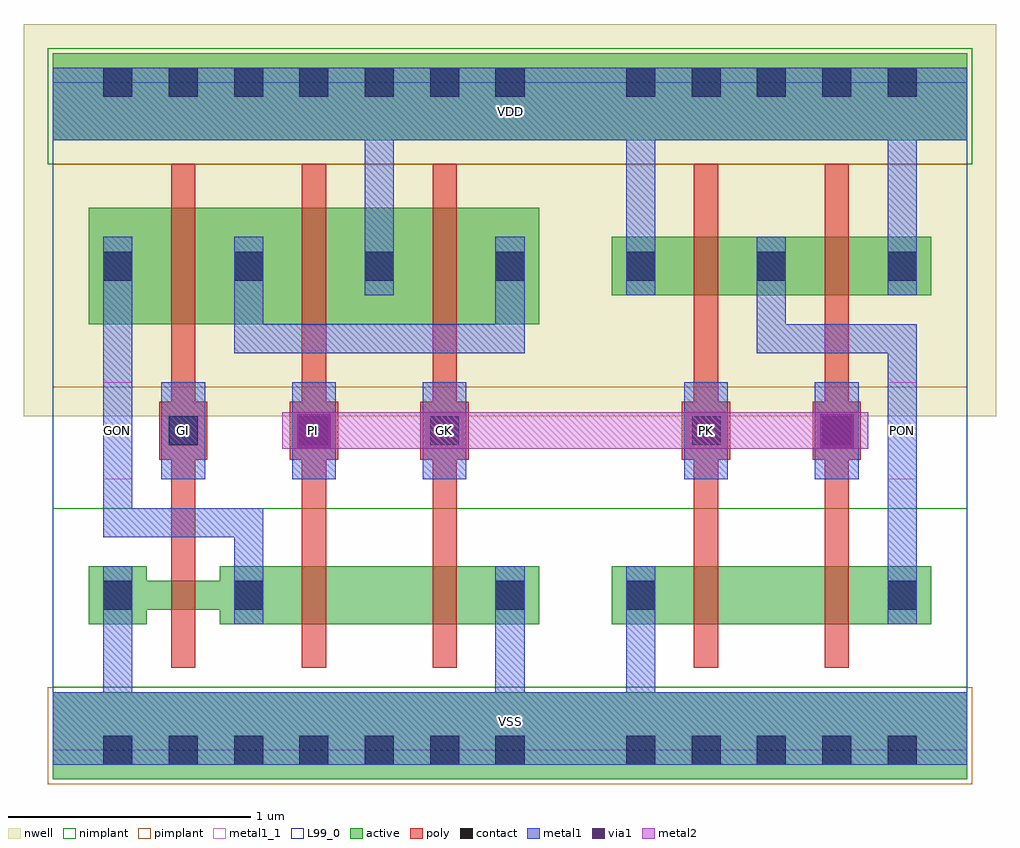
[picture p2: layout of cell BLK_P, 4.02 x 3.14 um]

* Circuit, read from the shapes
.subckt BLK_P GI GK GON PI PK PON VDD VSS
M1 GON GI VSS VSS nfet w=0.12u l=0.1u
M2 n1 PI GON VSS nfet w=0.24u l=0.1u
M3 VSS GK n1 VSS nfet w=0.24u l=0.1u
M4 n2 PK VSS VSS nfet w=0.24u l=0.1u
M5 PON PI n2 VSS nfet w=0.24u l=0.1u
M6 n3 GI GON VDD pfet w=0.48u l=0.1u
M7 VDD PI n3 VDD pfet w=0.48u l=0.1u
M8 n3 GK VDD VDD pfet w=0.48u l=0.1u
M9 PON PK VDD VDD pfet w=0.24u l=0.1u
M10 VDD PI PON VDD pfet w=0.24u l=0.1u
.ends

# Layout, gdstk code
import gdstk
lib = gdstk.Library(unit=1e-6, precision=5e-10)
def R(c, l, rs):  # rectangles x0, y0, x1, y1
    for r in rs: c.add(gdstk.rectangle(r[:2], r[2:], *l))
def A(c, l, x, y, w, h, nx, ny, dx, dy):  # array of equal rectangles
    R(c, l, [(x+i*dx, y+j*dy, x+i*dx+w, y+j*dy+h) for i in range(nx) for j in range(ny)])
active = (1, 0)
nwell = (2, 0)
poly = (3, 0)
nimplant = (4, 0)
pimplant = (5, 0)
contact = (6, 0)
metal1 = (7, 0)
metal1_1 = (7, 1)
via1 = (8, 0)
metal2 = (9, 0)
L99_0 = (99, 0)

aoi21_x1 = lib.new_cell('AOI21_X1')
A(aoi21_x1, active, 0.15, 0.52, 0.24, 0.24, 4, 1, 0.54, 0)
A(aoi21_x1, active, 0.15, 1.76, 0.24, 0.48, 4, 1, 0.54, 0)
A(aoi21_x1, active, 0.39, 1.76, 0.3, 0.48, 3, 1, 0.54, 0)
R(aoi21_x1, active, [(0,-0.12,2.16,0.24), (0.93,0.52,1.23,0.76), (1.47,0.52,1.77,0.76), (0.39,0.58,0.69,0.7), (0,2.52,2.16,2.88)])
R(aoi21_x1, nwell, [(-0.12,1.38,2.28,3)])
A(aoi21_x1, poly, 0.49, 0.34, 0.1, 2.08, 3, 1, 0.54, 0)
A(aoi21_x1, poly, 0.44, 1.2, 0.2, 0.24, 3, 1, 0.54, 0)
R(aoi21_x1, nimplant, [(0,0.26,2.16,1), (-0.02,2.42,2.18,2.9)])
R(aoi21_x1, pimplant, [(-0.02,-0.14,2.18,0.26), (0,1.5,2.16,2.42)])
A(aoi21_x1, contact, 0.21, -0.06, 0.12, 0.12, 7, 2, 0.27, 2.76)
A(aoi21_x1, contact, 0.48, 1.26, 0.12, 0.12, 3, 1, 0.54, 0)
A(aoi21_x1, contact, 0.21, 1.94, 0.12, 0.12, 4, 1, 0.54, 0)
R(aoi21_x1, contact, [(0.21,0.58,0.33,0.7), (0.75,0.58,0.87,0.7), (1.83,0.58,1.95,0.7)])
A(aoi21_x1, metal1, 0.45, 1.12, 0.18, 0.4, 3, 1, 0.54, 0)
A(aoi21_x1, metal1, 0.21, 1.88, 0.12, 0.24, 4, 1, 0.54, 0)
R(aoi21_x1, metal1, [(0,-0.06,2.16,0.24), (0.21,0.06,0.33,0.7), (1.83,0.06,1.95,0.7), (0.21,0.52,0.33,0.76), (0.75,0.52,0.87,0.76), (1.83,0.52,1.95,0.76), (0.75,0.58,0.87,1), (0.21,0.88,0.33,2.06), (0.21,0.88,0.87,1), (0.75,1.64,0.87,2.06), (0.75,1.64,1.95,1.76), (1.83,1.64,1.95,2.06), (1.29,1.94,1.41,2.7), (0,2.52,2.16,2.82)])
A(aoi21_x1, metal1_1, 0.45, 1.12, 0.18, 0.4, 3, 1, 0.54, 0)
R(aoi21_x1, metal1_1, [(0,0,2.16,0.24), (0.21,1.12,0.33,1.52), (0,2.52,2.16,2.76)])
R(aoi21_x1, L99_0, [(0,0,2.16,2.76)])
aoi21_x1.add(gdstk.Label('Y', (0.27,1.32), layer=7, texttype=3))
aoi21_x1.add(gdstk.Label('A2', (1.62,1.32), layer=7, texttype=3))
aoi21_x1.add(gdstk.Label('A1', (1.08,1.32), layer=7, texttype=3))
aoi21_x1.add(gdstk.Label('B', (0.54,1.32), layer=7, texttype=3))
aoi21_x1.add(gdstk.Label('VDD', (1.08,2.64), layer=7, texttype=3))
aoi21_x1.add(gdstk.Label('VSS', (1.08,0.12), layer=7, texttype=3))

nand2_x1 = lib.new_cell('NAND2_X1')
A(nand2_x1, active, 0.15, 0.52, 0.24, 0.24, 3, 2, 0.54, 1.36)
R(nand2_x1, active, [(0,-0.12,1.62,0.24), (0.39,0.52,0.69,0.76), (0.93,0.52,1.23,0.76), (0.39,1.88,0.69,2.12), (0.93,1.88,1.23,2.12), (0,2.52,1.62,2.88)])
R(nand2_x1, nwell, [(-0.12,1.38,1.74,3)])
R(nand2_x1, poly, [(0.49,0.34,0.59,2.42), (1.03,0.34,1.13,2.42), (0.44,1.2,0.64,1.44), (0.98,1.2,1.18,1.44)])
R(nand2_x1, nimplant, [(0,0.26,1.62,1), (-0.02,2.42,1.64,2.9)])
R(nand2_x1, pimplant, [(-0.02,-0.14,1.64,0.26), (0,1.5,1.62,2.42)])
A(nand2_x1, contact, 0.21, -0.06, 0.12, 0.12, 5, 2, 0.27, 2.76)
A(nand2_x1, contact, 0.21, 1.94, 0.12, 0.12, 3, 1, 0.54, 0)
R(nand2_x1, contact, [(0.21,0.58,0.33,0.7), (1.29,0.58,1.41,0.7), (0.48,1.26,0.6,1.38), (1.02,1.26,1.14,1.38)])
A(nand2_x1, metal1, 0.21, 1.88, 0.12, 0.24, 3, 1, 0.54, 0)
R(nand2_x1, metal1, [(0,-0.06,1.62,0.24), (0.21,0.06,0.33,0.7), (0.21,0.52,0.33,0.76), (1.29,0.52,1.41,0.76), (1.29,0.58,1.41,1.76), (0.45,1.12,0.63,1.52), (0.99,1.12,1.17,1.52), (0.75,1.64,1.41,1.76), (0.75,1.64,0.87,2.06), (0.21,1.94,0.33,2.7), (1.29,1.94,1.41,2.7), (0,2.52,1.62,2.82)])
R(nand2_x1, metal1_1, [(0,0,1.62,0.24), (0.45,1.12,0.63,1.52), (0.99,1.12,1.17,1.52), (1.29,1.12,1.41,1.52), (0,2.52,1.62,2.76)])
R(nand2_x1, L99_0, [(0,0,1.62,2.76)])
nand2_x1.add(gdstk.Label('Y', (1.35,1.32), layer=7, texttype=3))
nand2_x1.add(gdstk.Label('A', (1.08,1.32), layer=7, texttype=3))
nand2_x1.add(gdstk.Label('B', (0.54,1.32), layer=7, texttype=3))
nand2_x1.add(gdstk.Label('VDD', (0.81,2.64), layer=7, texttype=3))
nand2_x1.add(gdstk.Label('VSS', (0.81,0.12), layer=7, texttype=3))

blk_p = lib.new_cell('BLK_P')
A(blk_p, metal1_1, 0.45, 1.12, 0.18, 0.4, 3, 1, 0.54, 0)
R(blk_p, metal1_1, [(0,0,3.78,0.24), (0.21,1.12,0.33,1.52), (2.61,1.12,2.79,1.52), (3.45,1.12,3.57,1.52), (0,2.52,3.78,2.76)])
R(blk_p, via1, [(1.01,1.25,1.15,1.39), (3.17,1.25,3.31,1.39)])
R(blk_p, metal2, [(0.95,1.245,3.37,1.395)])
R(blk_p, L99_0, [(0,0,3.78,2.76)])
blk_p.add(gdstk.Reference(aoi21_x1, (0,0)))
blk_p.add(gdstk.Reference(nand2_x1, (2.16,0)))
blk_p.add(gdstk.Label('VDD', (1.89,2.64), layer=7, texttype=3))
blk_p.add(gdstk.Label('VSS', (1.89,0.12), layer=7, texttype=3))
blk_p.add(gdstk.Label('PON', (3.51,1.32), layer=7, texttype=3))
blk_p.add(gdstk.Label('GON', (0.27,1.32), layer=7, texttype=3))
blk_p.add(gdstk.Label('PK', (2.7,1.32), layer=7, texttype=3))
blk_p.add(gdstk.Label('GK', (1.62,1.32), layer=7, texttype=3))
blk_p.add(gdstk.Label('PI', (1.08,1.32), layer=7, texttype=3))
blk_p.add(gdstk.Label('GI', (0.54,1.32), layer=7, texttype=3))

lib.write_gds('BLK_P.gds')
